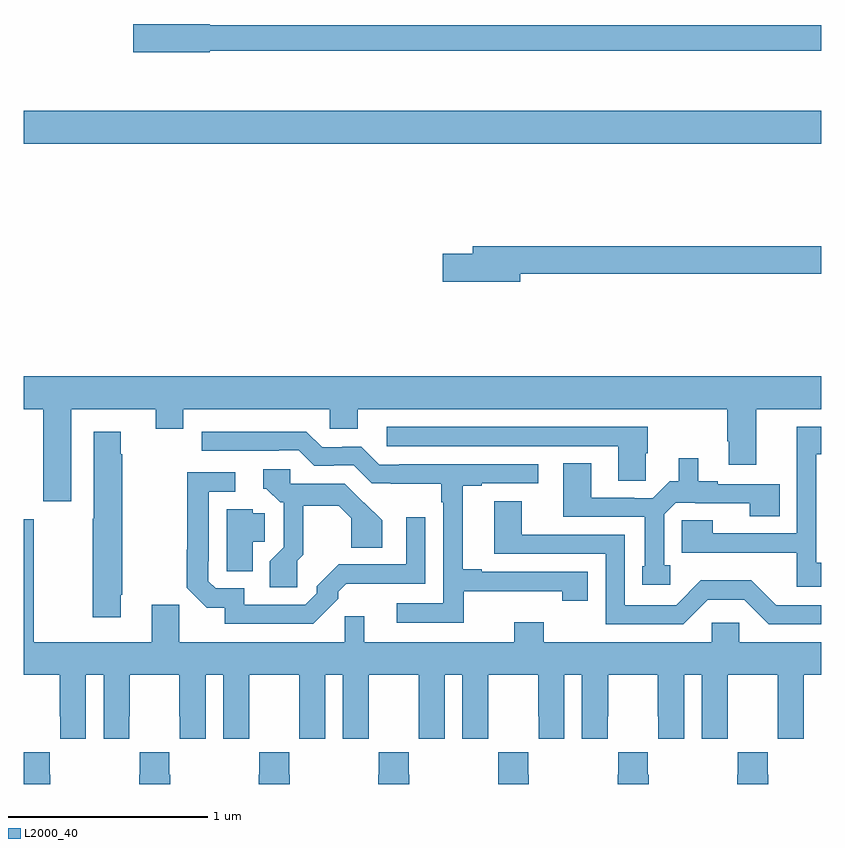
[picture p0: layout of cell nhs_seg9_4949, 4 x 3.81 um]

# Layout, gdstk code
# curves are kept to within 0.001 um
import gdstk
lib = gdstk.Library(unit=1e-6, precision=1e-09)
def R(c, l, rs):  # rectangles x0, y0, x1, y1
    for r in rs: c.add(gdstk.rectangle(r[:2], r[2:], *l))
def P(c, l, *ps):  # polygons
    for p in ps: c.add(gdstk.Polygon(p, *l))
L2000_40 = (2000, 40)

nhs_seg9_4949 = lib.new_cell('nhs_seg9_4949')
R(nhs_seg9_4949, L2000_40, [(397,1237.712,401,1237.876)])
P(nhs_seg9_4949, L2000_40, [(397.932,1238.178),(401,1238.178),(401,1238.306),(397.932,1238.306),(397.932,1238.312),(397.548,1238.312),(397.548,1238.17),(397.932,1238.17)],
  [(399.49,1237.06),(401,1237.06),(401,1237.196),(399.251,1237.196),(399.251,1237.16),(399.102,1237.16),(399.102,1237.018),(399.49,1237.018)],
  [(397.237,1236.38),(397.661,1236.38),(397.661,1236.281),(397.801,1236.281),(397.801,1236.38),(398.535,1236.38),(398.535,1236.282),(398.674,1236.282),(398.674,1236.38),(400.528,1236.38),(400.528,1236.22),(400.535,1236.22),(400.535,1236.102),(400.675,1236.102),(400.675,1236.38),(401,1236.38),(401,1236.544),(397,1236.544),(397,1236.38),(397.097,1236.38),(397.097,1235.919),(397.237,1235.919)],
  [(401,1235.61),(400.975,1235.61),(400.975,1236.153),(401,1236.153),(401,1236.292),(400.878,1236.292),(400.878,1235.757),(400.455,1235.757),(400.455,1235.822),(400.301,1235.822),(400.301,1235.661),(400.411,1235.661),(400.411,1235.66),(400.878,1235.66),(400.878,1235.49),(401,1235.49)],
  [(400.121,1236.159),(400.131,1236.159),(400.131,1236.291),(398.82,1236.291),(398.82,1236.195),(399.983,1236.195),(399.983,1236.022),(400.121,1236.022)],
  [(399.206,1235.468),(399.701,1235.468),(399.701,1235.418),(399.829,1235.418),(399.829,1235.565),(399.298,1235.565),(399.298,1235.578),(399.202,1235.578),(399.202,1235.997),(399.298,1235.997),(399.298,1236.009),(399.58,1236.009),(399.58,1236.105),(398.884,1236.105),(398.884,1236.102),(398.784,1236.102),(398.694,1236.192),(398.597,1236.192),(398.597,1236.189),(398.496,1236.189),(398.417,1236.268),(397.893,1236.267),(397.893,1236.171),(398.279,1236.171),(398.279,1236.174),(398.379,1236.174),(398.457,1236.096),(398.555,1236.096),(398.555,1236.099),(398.655,1236.099),(398.745,1236.009),(398.842,1236.009),(398.842,1236.006),(399.093,1236.006),(399.093,1235.912),(399.105,1235.912),(399.105,1235.406),(398.871,1235.406),(398.871,1235.31),(399.206,1235.31)],
  [(397.486,1235.449),(397.494,1235.449),(397.494,1236.155),(397.486,1236.155),(397.486,1236.268),(397.352,1236.268),(397.352,1235.831),(397.345,1235.831),(397.345,1235.337),(397.486,1235.337)],
  [(400.242,1235.598),(400.212,1235.598),(400.212,1235.853),(400.269,1235.91),(400.369,1235.91),(400.369,1235.907),(400.642,1235.907),(400.642,1235.842),(400.793,1235.842),(400.793,1236.003),(400.48,1236.003),(400.48,1236.018),(400.384,1236.018),(400.384,1236.133),(400.286,1236.133),(400.286,1236.018),(400.239,1236.018),(400.155,1235.934),(400.061,1235.934),(400.061,1235.937),(399.847,1235.937),(399.847,1236.11),(399.707,1236.11),(399.707,1235.841),(400.116,1235.841),(400.116,1235.592),(400.103,1235.592),(400.103,1235.499),(400.242,1235.499)],
  [(398.373,1235.621),(398.402,1235.65),(398.402,1235.895),(398.581,1235.895),(398.643,1235.834),(398.643,1235.686),(398.797,1235.686),(398.797,1235.822),(398.611,1236.006),(398.337,1236.006),(398.337,1236.078),(398.201,1236.078),(398.201,1235.982),(398.217,1235.982),(398.286,1235.913),(398.304,1235.913),(398.304,1235.688),(398.234,1235.618),(398.234,1235.487),(398.373,1235.487)],
  [(398.578,1235.429),(398.578,1235.464),(398.618,1235.504),(399.015,1235.505),(399.015,1235.839),(398.919,1235.839),(398.919,1235.601),(398.579,1235.601),(398.469,1235.491),(398.469,1235.457),(398.412,1235.4),(398.106,1235.4),(398.106,1235.481),(397.962,1235.481),(397.926,1235.517),(397.926,1235.617),(397.929,1235.617),(397.929,1235.967),(398.062,1235.967),(398.062,1236.063),(397.821,1236.063),(397.821,1235.675),(397.818,1235.675),(397.818,1235.484),(397.918,1235.385),(398.008,1235.385),(398.008,1235.304),(398.452,1235.304)],
  [(400.431,1235.424),(400.614,1235.424),(400.737,1235.301),(401,1235.301),(401,1235.397),(400.774,1235.397),(400.65,1235.521),(400.396,1235.521),(400.272,1235.397),(400.014,1235.397),(400.014,1235.751),(399.499,1235.751),(399.499,1235.917),(399.359,1235.917),(399.359,1235.655),(399.918,1235.655),(399.918,1235.301),(400.308,1235.301)],
  [(398.149,1235.714),(398.208,1235.714),(398.208,1235.859),(398.148,1235.859),(398.148,1235.878),(398.019,1235.878),(398.019,1235.566),(398.149,1235.566)],
  [(399.609,1235.311),(399.461,1235.311),(399.461,1235.212),(398.707,1235.212),(398.707,1235.342),(398.611,1235.342),(398.611,1235.212),(397.781,1235.212),(397.781,1235.4),(397.643,1235.4),(397.643,1235.212),(397.051,1235.212),(397.051,1235.827),(397,1235.827),(397,1235.048),(397.181,1235.048),(397.181,1234.84),(397.182,1234.84),(397.182,1234.728),(397.312,1234.728),(397.312,1235.048),(397.4,1235.048),(397.4,1234.728),(397.53,1234.728),(397.53,1234.84),(397.531,1234.84),(397.531,1235.048),(397.781,1235.048),(397.781,1234.84),(397.782,1234.84),(397.782,1234.728),(397.912,1234.728),(397.912,1235.048),(398,1235.048),(398,1234.728),(398.13,1234.728),(398.13,1234.84),(398.131,1234.84),(398.131,1235.048),(398.381,1235.048),(398.381,1234.84),(398.382,1234.84),(398.382,1234.728),(398.512,1234.728),(398.512,1235.048),(398.6,1235.048),(398.6,1234.728),(398.73,1234.728),(398.73,1234.84),(398.731,1234.84),(398.731,1235.048),(398.981,1235.048),(398.981,1234.84),(398.982,1234.84),(398.982,1234.728),(399.112,1234.728),(399.112,1235.048),(399.2,1235.048),(399.2,1234.728),(399.33,1234.728),(399.33,1234.84),(399.331,1234.84),(399.331,1235.048),(399.581,1235.048),(399.581,1234.84),(399.582,1234.84),(399.582,1234.728),(399.712,1234.728),(399.712,1235.048),(399.8,1235.048),(399.8,1234.728),(399.93,1234.728),(399.93,1234.84),(399.931,1234.84),(399.931,1235.048),(400.181,1235.048),(400.181,1234.84),(400.182,1234.84),(400.182,1234.728),(400.312,1234.728),(400.312,1235.048),(400.4,1235.048),(400.4,1234.728),(400.53,1234.728),(400.53,1234.84),(400.531,1234.84),(400.531,1235.048),(400.781,1235.048),(400.781,1234.84),(400.782,1234.84),(400.782,1234.728),(400.912,1234.728),(400.912,1235.048),(401,1235.048),(401,1235.212),(400.59,1235.212),(400.59,1235.31),(400.452,1235.31),(400.452,1235.212),(399.609,1235.212)],
  [(397.134,1234.547),(397.131,1234.547),(397.131,1234.66),(397,1234.66),(397,1234.5),(397.134,1234.5)],
  [(400.734,1234.547),(400.731,1234.547),(400.731,1234.66),(400.581,1234.66),(400.581,1234.547),(400.579,1234.547),(400.579,1234.5),(400.734,1234.5)],
  [(400.134,1234.547),(400.131,1234.547),(400.131,1234.66),(399.981,1234.66),(399.981,1234.547),(399.979,1234.547),(399.979,1234.5),(400.134,1234.5)],
  [(399.534,1234.547),(399.531,1234.547),(399.531,1234.66),(399.381,1234.66),(399.381,1234.547),(399.379,1234.547),(399.379,1234.5),(399.534,1234.5)],
  [(398.934,1234.547),(398.931,1234.547),(398.931,1234.66),(398.781,1234.66),(398.781,1234.547),(398.779,1234.547),(398.779,1234.5),(398.934,1234.5)],
  [(398.334,1234.547),(398.331,1234.547),(398.331,1234.66),(398.181,1234.66),(398.181,1234.547),(398.179,1234.547),(398.179,1234.5),(398.334,1234.5)],
  [(397.734,1234.547),(397.731,1234.547),(397.731,1234.66),(397.581,1234.66),(397.581,1234.547),(397.579,1234.547),(397.579,1234.5),(397.734,1234.5)])

lib.write_gds('nhs_seg9_4949.gds')
